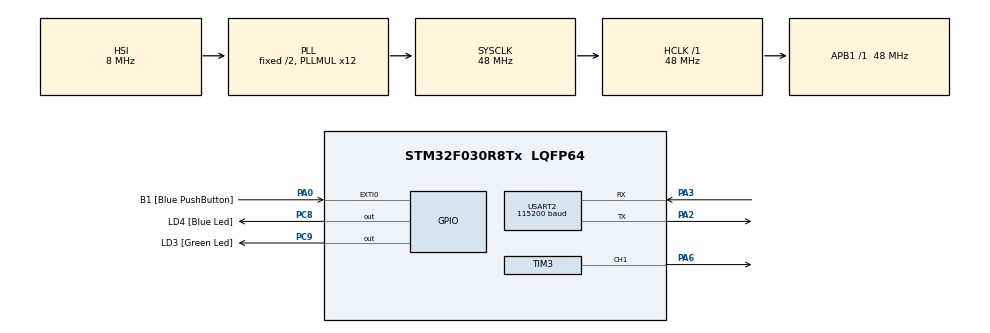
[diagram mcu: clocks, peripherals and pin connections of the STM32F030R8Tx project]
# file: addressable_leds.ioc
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Dma.Request0=TIM3_CH1/TRIG
Dma.TIM3_CH1/TRIG.0.Direction=DMA_MEMORY_TO_PERIPH
Dma.TIM3_CH1/TRIG.0.Instance=DMA1_Channel4
Dma.TIM3_CH1/TRIG.0.MemDataAlignment=DMA_MDATAALIGN_BYTE
Dma.TIM3_CH1/TRIG.0.MemInc=DMA_MINC_ENABLE
Dma.TIM3_CH1/TRIG.0.Mode=DMA_CIRCULAR
Dma.TIM3_CH1/TRIG.0.PeriphDataAlignment=DMA_PDATAALIGN_HALFWORD
Dma.TIM3_CH1/TRIG.0.PeriphInc=DMA_PINC_DISABLE
Dma.TIM3_CH1/TRIG.0.Priority=DMA_PRIORITY_VERY_HIGH
Mcu.Family=STM32F0
Mcu.Name=STM32F030R8Tx
Mcu.Package=LQFP64
NVIC.DMA1_Channel4_5_IRQn=true\:0\:0\:false\:false\:true\:false\:true
NVIC.TIM3_IRQn=true\:0\:0\:false\:false\:true\:true\:true
NVIC.USART2_IRQn=true\:0\:0\:false\:false\:true\:true\:true
PA0.GPIO_Label=B1 [Blue PushButton]
PA0.GPIO_ModeDefaultEXTI=GPIO_MODE_EVT_RISING
PA0.Signal=GPXTI0
PA13.GPIO_Label=SWDIO
PA13.Signal=SYS_SWDIO
PA14.GPIO_Label=SWCLK
PA14.Signal=SYS_SWCLK
PA2.Mode=Asynchronous
PA2.Signal=USART2_TX
PA3.Mode=Asynchronous
PA3.Signal=USART2_RX
PA6.Signal=S_TIM3_CH1
PC8.GPIO_Label=LD4 [Blue Led]
PC8.Signal=GPIO_Output
PC9.GPIO_Label=LD3 [Green Led]
PC9.Signal=GPIO_Output
ProjectManager.HeapSize=0x200
ProjectManager.StackSize=0x400
ProjectManager.TargetToolchain=TrueSTUDIO
RCC.AHBFreq_Value=48000000
RCC.APB1Freq_Value=48000000
RCC.APB1TimFreq_Value=48000000
RCC.HCLKFreq_Value=48000000
RCC.HSE_VALUE=4000000
RCC.PLLMUL=RCC_PLL_MUL12
RCC.SYSCLKFreq_VALUE=48000000
RCC.SYSCLKSource=RCC_SYSCLKSOURCE_PLLCLK
SH.S_TIM3_CH1.0=TIM3_CH1,PWM Generation1 CH1
TIM3.AutoReloadPreload=TIM_AUTORELOAD_PRELOAD_ENABLE
TIM3.Channel-PWM\ Generation1\ CH1=TIM_CHANNEL_1
TIM3.OCFastMode_PWM-PWM\ Generation1\ CH1=TIM_OCFAST_ENABLE
TIM3.OCPolarity_1=TIM_OCPOLARITY_HIGH
TIM3.Period=18
TIM3.Prescaler=1
TIM3.Pulse-PWM\ Generation1\ CH1=0
USART2.BaudRate=115200
USART2.VirtualMode-Asynchronous=VM_ASYNC
VP_TIM3_VS_ClockSourceINT.Mode=Internal
board=32F0308DISCOVERY

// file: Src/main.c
/* USER CODE BEGIN Header */
/**
  ******************************************************************************
  * @file           : main.c
  * @brief          : Main program body
  ******************************************************************************
  * @attention
  *
  * <h2><center>&copy; Copyright (c) 2019 STMicroelectronics.
  * All rights reserved.</center></h2>
  *
  * This software component is licensed by ST under BSD 3-Clause license,
  * the "License"; You may not use this file except in compliance with the
  * License. You may obtain a copy of the License at:
  *                        opensource.org/licenses/BSD-3-Clause
  *
  ******************************************************************************
  */
/* USER CODE END Header */

#include "main.h"

/* USER CODE BEGIN Includes */
#include <string.h>
/* USER CODE END Includes */

TIM_HandleTypeDef htim3;
DMA_HandleTypeDef hdma_tim3_ch1_trig;

UART_HandleTypeDef huart2;

/* USER CODE BEGIN PV */

volatile uint32_t rgb     = 0xaaaaaa;

uint8_t red_color[] ={
			9, 9, 9, 9, 9, 9,  9, 9,
			9, 9, 9, 9, 9, 9, 17, 9,
			9, 9, 9, 9, 9, 9,  9, 9
};
uint8_t blue_color[] ={
			9, 9, 9, 9, 9, 9, 17, 9,
			9, 9, 9, 9, 9, 9,  9, 9,
			9, 9, 9, 9, 9, 9,  9, 9
};
#define DMA_LED_LEN 288
volatile uint8_t pwm_buffer[DMA_LED_LEN +2] = {
					9, 9, 9, 9,    9, 9, 17, 9,
					9, 9, 9, 9,    9, 9, 9, 9,
	 				9, 9, 9, 9,    9, 9, 9, 9,

					9, 9, 9, 9,    9, 9, 9, 9,
					9, 9, 9, 9,    9, 9, 9, 9,
					9, 9, 9, 9,    9, 9, 17, 9,

					9, 9, 9, 9,    9, 9, 9, 9,
					9, 9, 9, 9,    9, 9, 9, 9,
					9, 9, 9, 9,    9, 9, 9, 9,

					9, 9, 9, 9,    9, 9, 9, 9,
					9, 9, 9, 9,    9, 9, 9, 17,

//					9, 9, 9, 9,    9, 9, 9, 9,
	 				9, 9, 9, 9,    9, 9, 9, 9,

					9, 9, 9, 9,    9, 9, 9, 9,
					9, 9, 9, 9,    9, 9, 9, 9,
					9, 9, 9, 9,    9, 9, 9, 9,

					9, 9, 9, 9,    9, 9, 9, 9,
					9, 9, 9, 9,    9, 9, 9, 9,
					9, 9, 9, 9,    9, 9, 9, 9,

					 0, 0, 0, 0, 0, 0, 0, 0,
					 0, 0, 0, 0, 0, 0, 0, 0,
					 0, 0, 0, 0, 0, 0, 0, 0,

					 0, 0, 0, 0, 0, 0, 0, 0,
					 0, 0, 0, 0, 0, 0, 0, 0,
					 0, 0, 0, 0, 0, 0, 0, 0,

					 0, 0, 0, 0, 0, 0, 0, 0,
					 0, 0, 0, 0, 0, 0, 0, 0,
					 0, 0, 0, 0, 0, 0, 0, 0,

					 0, 0, 0, 0, 0, 0, 0, 0,
					 0, 0, 0, 0, 0, 0, 0, 0,
					 0, 0, 0, 0, 0, 0, 0, 0,

					 0, 0, 0, 0, 0, 0, 0, 0,
					 0, 0, 0, 0, 0, 0, 0, 0,
					 0, 0, 0, 0, 0, 0, 0, 0,

					 0, 0, 0, 0, 0, 0, 0, 0,
					 0, 0, 0, 0, 0, 0, 0, 0,
					 0, 0, 0, 0, 0, 0, 0, 0,

				    };

volatile uint8_t pwm_buffer2[DMA_LED_LEN +2] = {
					9, 9, 9, 9,    17, 9, 9, 9,
					9, 9, 9, 9,    9, 9, 9, 9,
	 				9, 9, 9, 9,    9, 9, 9, 9,

					9, 9, 9, 9,    9, 9, 9, 9,
					9, 9, 9, 9,    9, 9, 9, 9,
					9, 9, 9, 9,    17, 9, 9, 9,

					9, 9, 9, 9,    9, 9, 9, 9,
					9, 9, 9, 9,    9, 9, 9, 9,
					9, 9, 9, 9,    9, 9, 9, 9,

					9, 9, 9, 9,    9, 9, 9, 9,
					9, 9, 9, 9,    9, 17, 9, 9,

//					9, 9, 9, 9,    9, 9, 9, 9,
	 				9, 9, 9, 9,    9, 9, 9, 9,

					9, 9, 9, 9,    9, 9, 9, 9,
					9, 9, 9, 9,    9, 9, 9, 9,
					9, 9, 9, 9,    9, 9, 9, 9,

					9, 9, 9, 9,    9, 9, 9, 9,
					9, 9, 9, 9,    9, 9, 9, 9,
					9, 9, 9, 9,    9, 9, 9, 9,

					 0, 0, 0, 0, 0, 0, 0, 0,
					 0, 0, 0, 0, 0, 0, 0, 0,
					 0, 0, 0, 0, 0, 0, 0, 0,

					 0, 0, 0, 0, 0, 0, 0, 0,
					 0, 0, 0, 0, 0, 0, 0, 0,
					 0, 0, 0, 0, 0, 0, 0, 0,

					 0, 0, 0, 0, 0, 0, 0, 0,
					 0, 0, 0, 0, 0, 0, 0, 0,
					 0, 0, 0, 0, 0, 0, 0, 0,

					 0, 0, 0, 0, 0, 0, 0, 0,
					 0, 0, 0, 0, 0, 0, 0, 0,
					 0, 0, 0, 0, 0, 0, 0, 0,

					 0, 0, 0, 0, 0, 0, 0, 0,
					 0, 0, 0, 0, 0, 0, 0, 0,
					 0, 0, 0, 0, 0, 0, 0, 0,

					 0, 0, 0, 0, 0, 0, 0, 0,
					 0, 0, 0, 0, 0, 0, 0, 0,
					 0, 0, 0, 0, 0, 0, 0, 0,

				    };

volatile uint8_t bit_id   = 0;
volatile uint16_t next_led = 0;
volatile uint32_t duty_cycle = 0;
volatile uint8_t led_pattern = 0;
/* USER CODE END PV */

void SystemClock_Config(void);
static void MX_GPIO_Init(void);
static void MX_DMA_Init(void);
static void MX_USART2_UART_Init(void);
static void MX_TIM3_Init(void);

/* USER CODE BEGIN 0 */
void HAL_TIM_PeriodElapsedCallback(TIM_HandleTypeDef *htim)
{
	if (htim->Instance == TIM3) {

		if (((rgb >> bit_id) & 0x1)==0X01) {
			duty_cycle = 19;//86;
		}else{
			duty_cycle = 10;//33;
		}

		if (bit_id > 7) {
			duty_cycle = 0;
		//	GPIOC->ODR |= GPIO_PIN_8;
		}else {
			bit_id++;
		}

		//htim->Instance->CCR1 = duty_cycle;
		__HAL_TIM_CLEAR_FLAG(htim,TIM_FLAG_UPDATE);
	}
}

volatile uint8_t transfer_finished_ifg = 0;
volatile uint8_t buffer_change_ifg = 0;
//#if 1
void HAL_TIM_PWM_PulseFinishedCallback(TIM_HandleTypeDef *htim){
#if 0
		if (htim->Instance == TIM3) {

//			HAL_DMA_Abort(htim->hdma[TIM_DMA_ID_CC1]);

/*fix posible bug with */

//__disable_irq();
/* might not be necessary */

 htim->hdma[TIM_DMA_ID_CC1]->XferCpltCallback = NULL;
 HAL_TIM_PWM_Stop_DMA( htim,TIM_CHANNEL_1)L
// __enable_irq();

		//	__HAL_DMA_DISABLE(htim->hdma[TIM_DMA_ID_CC1]);
			transfer_finished_ifg = 1;

		}
		// if ( pwm_buffer[0] == 8)
		// pwm_buffer[0] = 14;
	// else
		// pwm_buffer[0] = 8;
#endif
}
/* USER CODE END 0 */

int main(void)
{

  /* MCU Configuration--------------------------------------------------------*/

  /* Reset of all peripherals, Initializes the Flash interface and the Systick. */
  HAL_Init();

  /* Configure the system clock */
  SystemClock_Config();

  /* Initialize all configured peripherals */
  MX_GPIO_Init();
  MX_DMA_Init();
  MX_USART2_UART_Init();
  MX_TIM3_Init();
  /* USER CODE BEGIN 2 */
	GPIOA->ODR &=~GPIO_PIN_6;
	GPIOC->ODR |= GPIO_PIN_8;
	HAL_Delay(1000);
	volatile uint32_t blink_counter = 0;
  HAL_TIM_Base_Start(&htim3);
//  HAL_DMA_RegisterCallback ( &htim3.dma[TIM_DMA_ID_CC1],HAL_DMA_XFER_CPLT_CB_ID, half_transfer_callback_dma);
  HAL_TIM_PWM_Start_DMA(&htim3, TIM_CHANNEL_1, (uint32_t *)(&pwm_buffer[0]), DMA_LED_LEN);

volatile uint8_t color_swap = 0;
  /* USER CODE END 2 */

  /* Infinite loop */
  while (1)
  {

    /* USER CODE BEGIN 3 */
	if (HAL_GetTick() > blink_counter) {
		blink_counter = HAL_GetTick()+ 500;
		GPIOC->ODR ^= GPIO_PIN_8;

		transfer_finished_ifg = 0;
		if (pwm_buffer[46] == 9){
			pwm_buffer[46] = 17;
			buffer_change_ifg = 0;
		}
		else{
			pwm_buffer[46] = 9;
		}

 		if (transfer_finished_ifg) {

			// HAL_DMA_Start(htim3.hdma[TIM_DMA_ID_CC1],
				// (uint32_t *)(&pwm_buffer[0]),
				// (uint32_t *)(&(htim3.Instance->CCR1)),DMA_LED_LEN);

		}
	}
  }
  /* USER CODE END 3 */
}

void SystemClock_Config(void)
{
  RCC_OscInitTypeDef RCC_OscInitStruct = {0};
  RCC_ClkInitTypeDef RCC_ClkInitStruct = {0};

  /** Initializes the CPU, AHB and APB busses clocks
  */
  RCC_OscInitStruct.OscillatorType = RCC_OSCILLATORTYPE_HSI;
  RCC_OscInitStruct.HSIState = RCC_HSI_ON;
  RCC_OscInitStruct.HSICalibrationValue = RCC_HSICALIBRATION_DEFAULT;
  RCC_OscInitStruct.PLL.PLLState = RCC_PLL_ON;
  RCC_OscInitStruct.PLL.PLLSource = RCC_PLLSOURCE_HSI;
  RCC_OscInitStruct.PLL.PLLMUL = RCC_PLL_MUL12;
  RCC_OscInitStruct.PLL.PREDIV = RCC_PREDIV_DIV1;
  if (HAL_RCC_OscConfig(&RCC_OscInitStruct) != HAL_OK)
  {
    Error_Handler();
  }
  /** Initializes the CPU, AHB and APB busses clocks
  */
  RCC_ClkInitStruct.ClockType = RCC_CLOCKTYPE_HCLK|RCC_CLOCKTYPE_SYSCLK
                              |RCC_CLOCKTYPE_PCLK1;
  RCC_ClkInitStruct.SYSCLKSource = RCC_SYSCLKSOURCE_PLLCLK;
  RCC_ClkInitStruct.AHBCLKDivider = RCC_SYSCLK_DIV1;
  RCC_ClkInitStruct.APB1CLKDivider = RCC_HCLK_DIV1;

  if (HAL_RCC_ClockConfig(&RCC_ClkInitStruct, FLASH_LATENCY_1) != HAL_OK)
  {
    Error_Handler();
  }
}

static void MX_TIM3_Init(void)
{

  TIM_ClockConfigTypeDef sClockSourceConfig = {0};
  TIM_MasterConfigTypeDef sMasterConfig = {0};
  TIM_OC_InitTypeDef sConfigOC = {0};

  htim3.Instance = TIM3;
  htim3.Init.Prescaler = 1;
  htim3.Init.CounterMode = TIM_COUNTERMODE_UP;
  htim3.Init.Period = 30;
  htim3.Init.ClockDivision = TIM_CLOCKDIVISION_DIV1;
  htim3.Init.AutoReloadPreload = TIM_AUTORELOAD_PRELOAD_ENABLE;
  if (HAL_TIM_Base_Init(&htim3) != HAL_OK)
  {
    Error_Handler();
  }
  sClockSourceConfig.ClockSource = TIM_CLOCKSOURCE_INTERNAL;
  if (HAL_TIM_ConfigClockSource(&htim3, &sClockSourceConfig) != HAL_OK)
  {
    Error_Handler();
  }
  if (HAL_TIM_PWM_Init(&htim3) != HAL_OK)
  {
    Error_Handler();
  }
  sMasterConfig.MasterOutputTrigger = TIM_TRGO_RESET;
  sMasterConfig.MasterSlaveMode = TIM_MASTERSLAVEMODE_DISABLE;
  if (HAL_TIMEx_MasterConfigSynchronization(&htim3, &sMasterConfig) != HAL_OK)
  {
    Error_Handler();
  }
  sConfigOC.OCMode = TIM_OCMODE_PWM1;
  sConfigOC.Pulse = 0;
  sConfigOC.OCPolarity = TIM_OCPOLARITY_HIGH;
  sConfigOC.OCFastMode = TIM_OCFAST_ENABLE;
  if (HAL_TIM_PWM_ConfigChannel(&htim3, &sConfigOC, TIM_CHANNEL_1) != HAL_OK)
  {
    Error_Handler();
  }
  HAL_TIM_MspPostInit(&htim3);

}

static void MX_USART2_UART_Init(void)
{

  huart2.Instance = USART2;
  huart2.Init.BaudRate = 115200;
  huart2.Init.WordLength = UART_WORDLENGTH_8B;
  huart2.Init.StopBits = UART_STOPBITS_1;
  huart2.Init.Parity = UART_PARITY_NONE;
  huart2.Init.Mode = UART_MODE_TX_RX;
  huart2.Init.HwFlowCtl = UART_HWCONTROL_NONE;
  huart2.Init.OverSampling = UART_OVERSAMPLING_16;
  huart2.Init.OneBitSampling = UART_ONE_BIT_SAMPLE_DISABLE;
  huart2.AdvancedInit.AdvFeatureInit = UART_ADVFEATURE_NO_INIT;
  if (HAL_UART_Init(&huart2) != HAL_OK)
  {
    Error_Handler();
  }

}

static void MX_DMA_Init(void)
{
  /* DMA controller clock enable */
  __HAL_RCC_DMA1_CLK_ENABLE();

  /* DMA interrupt init */
  /* DMA1_Channel4_5_IRQn interrupt configuration */
  HAL_NVIC_SetPriority(DMA1_Channel4_5_IRQn, 0, 0);
  HAL_NVIC_EnableIRQ(DMA1_Channel4_5_IRQn);

}

static void MX_GPIO_Init(void)
{
  GPIO_InitTypeDef GPIO_InitStruct = {0};

  /* GPIO Ports Clock Enable */
  __HAL_RCC_GPIOA_CLK_ENABLE();
  __HAL_RCC_GPIOC_CLK_ENABLE();

  /*Configure GPIO pin Output Level */
  HAL_GPIO_WritePin(GPIOC, LD4_Pin|LD3_Pin, GPIO_PIN_RESET);

  /*Configure GPIO pin : B1_Pin */
  GPIO_InitStruct.Pin = B1_Pin;
  GPIO_InitStruct.Mode = GPIO_MODE_EVT_RISING;
  GPIO_InitStruct.Pull = GPIO_NOPULL;
  HAL_GPIO_Init(B1_GPIO_Port, &GPIO_InitStruct);

  /*Configure GPIO pins : LD4_Pin LD3_Pin */
  GPIO_InitStruct.Pin = LD4_Pin|LD3_Pin;
  GPIO_InitStruct.Mode = GPIO_MODE_OUTPUT_PP;
  GPIO_InitStruct.Pull = GPIO_NOPULL;
  GPIO_InitStruct.Speed = GPIO_SPEED_FREQ_LOW;
  HAL_GPIO_Init(GPIOC, &GPIO_InitStruct);

}

void Error_Handler(void)
{
}

/************************ (C) COPYRIGHT STMicroelectronics *****END OF FILE****/
